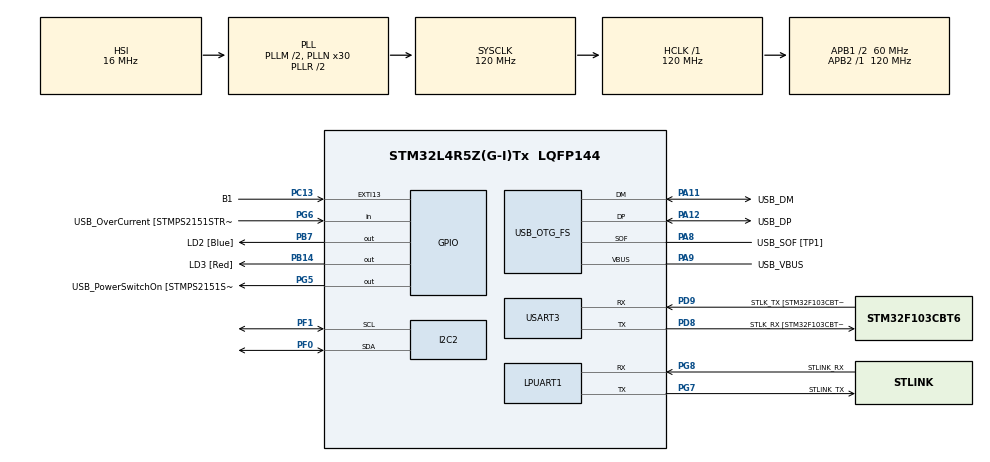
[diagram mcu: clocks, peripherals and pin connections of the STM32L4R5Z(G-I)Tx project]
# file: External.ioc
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I2C2.Timing=0x107075B0
LPUART1.WordLength=UART_WORDLENGTH_8B
Mcu.Family=STM32L4
Mcu.Name=STM32L4R5Z(G-I)Tx
Mcu.Package=LQFP144
NVIC.PriorityGroup=NVIC_PRIORITYGROUP_4
PA10.GPIO_Label=USB_ID
PA10.Signal=USB_OTG_FS_ID
PA11.GPIO_Label=USB_DM
PA11.Mode=Device_Only
PA11.Signal=USB_OTG_FS_DM
PA12.GPIO_Label=USB_DP
PA12.Mode=Device_Only
PA12.Signal=USB_OTG_FS_DP
PA13\ (JTMS/SWDIO).GPIO_Label=TMS
PA13\ (JTMS/SWDIO).Mode=Trace_Asynchronous_SW
PA13\ (JTMS/SWDIO).Signal=SYS_JTMS-SWDIO
PA14\ (JTCK/SWCLK).GPIO_Label=TCK
PA14\ (JTCK/SWCLK).Mode=Trace_Asynchronous_SW
PA14\ (JTCK/SWCLK).Signal=SYS_JTCK-SWCLK
PA2.Signal=USART2_TX
PA3.Signal=USART2_RX
PA8.GPIO_Label=USB_SOF [TP1]
PA8.Mode=Activate_SOF_FS
PA8.Signal=USB_OTG_FS_SOF
PA9.GPIO_Label=USB_VBUS
PA9.Mode=Activate_VBUS
PA9.Signal=USB_OTG_FS_VBUS
PB14.GPIO_Label=LD3 [Red]
PB14.Signal=GPIO_Output
PB3\ (JTDO/TRACESWO).GPIO_Label=SWO
PB3\ (JTDO/TRACESWO).Mode=Trace_Asynchronous_SW
PB3\ (JTDO/TRACESWO).Signal=SYS_JTDO-SWO
PB7.GPIO_Label=LD2 [Blue]
PB7.Signal=GPIO_Output
PC13.GPIO_Label=B1
PC13.Signal=GPXTI13
PC14-OSC32_IN\ (PC14).Mode=LSE-External-Oscillator
PC14-OSC32_IN\ (PC14).Signal=RCC_OSC32_IN
PC15-OSC32_OUT\ (PC15).Mode=LSE-External-Oscillator
PC15-OSC32_OUT\ (PC15).Signal=RCC_OSC32_OUT
PD8.GPIO_Label=STLK_RX [STM32F103CBT6_PA3]
PD8.Mode=Asynchronous
PD8.Signal=USART3_TX
PD9.GPIO_Label=STLK_TX [STM32F103CBT6_PA2]
PD9.Mode=Asynchronous
PD9.Signal=USART3_RX
PF0.Mode=I2C
PF0.Signal=I2C2_SDA
PF1.Mode=I2C
PF1.Signal=I2C2_SCL
PG5.GPIO_Label=USB_PowerSwitchOn [STMPS2151STR_EN]
PG5.Signal=GPIO_Output
PG6.GPIO_Label=USB_OverCurrent [STMPS2151STR_FAULT]
PG6.Signal=GPIO_Input
PG7.GPIO_Label=STLINK_TX
PG7.Mode=Asynchronous
PG7.Signal=LPUART1_TX
PG8.GPIO_Label=STLINK_RX
PG8.Mode=Asynchronous
PG8.Signal=LPUART1_RX
PH0-OSC_IN\ (PH0).Signal=RCC_OSC_IN
PH1-OSC_OUT\ (PH1).Signal=RCC_OSC_OUT
ProjectManager.HeapSize=0x200
ProjectManager.StackSize=0x400
ProjectManager.TargetToolchain=STM32CubeIDE
RCC.48MHZClocksFreq_Value=24000000
RCC.ADCFreq_Value=96000000
RCC.AHBFreq_Value=120000000
RCC.APB1CLKDivider=RCC_HCLK_DIV2
RCC.APB1Freq_Value=60000000
RCC.APB1TimFreq_Value=120000000
RCC.APB2Freq_Value=120000000
RCC.APB2TimFreq_Value=120000000
RCC.CK48CLockSelection=RCC_USBCLKSOURCE_HSI48
RCC.CortexFreq_Value=120000000
RCC.HCLKFreq_Value=120000000
RCC.HSE_VALUE=8000000
RCC.HSI48_VALUE=48000000
RCC.HSI_VALUE=16000000
RCC.MSI_VALUE=4000000
RCC.PLLM1=2
RCC.PLLMUL=RCC_PLL_MUL9
RCC.PLLN=30
RCC.PLLSAI1N=12
RCC.PLLSourceVirtual=RCC_PLLSOURCE_HSI
RCC.PRESCALERUSB=RCC_USBCLKSOURCE_PLL_DIV1_5
RCC.SYSCLKFreq_VALUE=120000000
RCC.SYSCLKSource=RCC_SYSCLKSOURCE_PLLCLK
RCC.SYSCLKSourceVirtual=RCC_SYSCLKSOURCE_PLLCLK
RCC.USBFreq_Value=48000000
RCC.VCOOutputFreq_Value=240000000
USART3.VirtualMode-Asynchronous=VM_ASYNC
USB_OTG_FS.VirtualMode=Device_Only
board=NUCLEO-L4R5ZI

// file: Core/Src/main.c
/* USER CODE BEGIN Header */
/**
 ******************************************************************************
 * @file           : main.c
 * @brief          : Main program body
 ******************************************************************************
 * @attention
 *
 * Copyright (c) 2022 STMicroelectronics.
 * All rights reserved.
 *
 * This software is licensed under terms that can be found in the LICENSE file
 * in the root directory of this software component.
 * If no LICENSE file comes with this software, it is provided AS-IS.
 *
 ******************************************************************************
 */
/* USER CODE END Header */
#include "main.h"

/* USER CODE BEGIN Includes */
#include <string.h>
#include <stdlib.h>

/* USER CODE END Includes */

I2C_HandleTypeDef hi2c2;

UART_HandleTypeDef hlpuart1;
UART_HandleTypeDef huart3;

PCD_HandleTypeDef hpcd_USB_OTG_FS;

/* USER CODE BEGIN PV */
static const uint8_t SENS_ADDR = 0x18;
static const uint8_t REG_TEMP = 0x05;
uint8_t ACK;
uint8_t NAK;
uint8_t UpperByte;
uint8_t LowerByte;

/* USER CODE END PV */

void SystemClock_Config(void);
static void MX_GPIO_Init(void);
static void MX_LPUART1_UART_Init(void);
static void MX_USART3_UART_Init(void);
static void MX_USB_OTG_FS_PCD_Init(void);
static void MX_I2C2_Init(void);

int main(void) {
	/* USER CODE BEGIN 1 */
	uint8_t buf[3];
	char str[100];
	float Temperature;
	/* USER CODE END 1 */

	/* MCU Configuration--------------------------------------------------------*/

	/* Reset of all peripherals, Initializes the Flash interface and the Systick. */
	HAL_Init();

	/* Configure the system clock */
	SystemClock_Config();

	/* Initialize all configured peripherals */
	MX_GPIO_Init();
	MX_LPUART1_UART_Init();
	MX_USART3_UART_Init();
	MX_USB_OTG_FS_PCD_Init();
	MX_I2C2_Init();

	/* Infinite loop */
	/* USER CODE BEGIN WHILE */
	while (1) {
		// new line char, for clarity
		char newLine[2] = "\n";

		/*
		 * Here, we are sending the address of the Ambiant Temperature information
		 * (Stored in REG_TEMP), to the Sensor where it will repopulate the buf
		 * with the 2 bytes which contain the information about the Ambiant Temperature
		 *
		 */
		buf[0] = REG_TEMP;
		HAL_I2C_Master_Transmit(&hi2c2, SENS_ADDR << 1, buf, 1,
		HAL_MAX_DELAY);

		// The 16 bits that represent the information for the Ta (Ambiant Temperature) are stored in
		// buf as the first two bytes (as it 16 bits long, so 2 bytes)
		HAL_I2C_Master_Receive(&hi2c2, SENS_ADDR << 1, buf, 2,
		HAL_MAX_DELAY);

		// First most significant byte
		UpperByte = buf[0];
		short upper = UpperByte; // Here for debugging purposes

		// Less significant byte
		LowerByte = buf[1];
		short lower = LowerByte; // Here for debugging purposes

		/*
		 * Note that the following section is better understood by looking the MCP9808 documentation
		 * Specifically, page 17, which outlines the purpose of each bit (of 16) for the Ambiant Temperature
		 *
		 * Also, page 24 and 25 are quite useful as well for outlining the details of the 2 bytes recieved
		 */

//		// If 0, then temp is positive, if 1, temp is negative
//		uint8_t negCheckMask = 0x10; // 0001 0000
//		uint8_t negCheck = upper & negCheckMask;
//
//		// Grabs bits 11-8,
//		uint8_t sigUpperbitsMask = 0x0F; //0000 1111
//		uint8_t sigUpperbits = UpperByte & sigUpperbitsMask;
//		// As these bits are meant to represent (2^7, 2^6, 2^5, 2^4), I must multiply value by 16
//		uint8_t upperBitsTemp = sigUpperbits << 4;
//
//		// Represents (2^3, 2^2, 2^1, 2^0)
//		uint8_t firstLowerBitsTemp = lower >> 4;
//
//		// Represents the decimal bits (2^-1, 2^-2, 2^-3, 2^-4),
//		// thus, equivalent to dividing num by 16
//		float decimalNums = ((float) (0x0F & lower)) / 16;
//
//		float temp = upperBitsTemp + firstLowerBitsTemp + decimalNums;
//
//		// if negative number, subtract by 256
//		if (negCheck == 1){
//			temp -= 256;
//		}
		/*
		 * Following block of code can be found on page 25
		 * of the MCP9808 Data Sheet
		 *
		 *
		 */

		//First Check flag bits
		if ((UpperByte & 0x80) == 0x80) { //TA ³ TCRIT
			// 1000 0000, checks the most significant bit

		}
		if ((UpperByte & 0x40) == 0x40) { //TA > TUPPER
			// Need to configure upper limit

			// 0100 0000, checks bit 7
//			char str[] = "Ambient Temperature is greater than Upper Limit.";
//			HAL_UART_Transmit(&hlpuart1, str, strlen((char*) str),
//					HAL_MAX_DELAY);
		}
		if ((UpperByte & 0x20) == 0x20) { //TA < TLOWER
			// need to configure lower limit

			//			char str[] = "Ambient Temperature is less than lower Limit.";
//			HAL_UART_Transmit(&hlpuart1, str, strlen((char*) str),
//					HAL_MAX_DELAY);

		}
		// UpperByte & 0001 1111, first 3 bits of UpperByte are flag bits
		upper = upper & 0x1F; //Clear flag bits

		if ((UpperByte & 0x10) == 0x10) { //TA < 0°C
			upper = upper & 0x0F; //Clear SIGN
			Temperature = 256 - (upper * 16 + (float) lower / 16);
		} else
			//TA >= 0°C
			Temperature = (upper * 16 + (float) lower / 16);

		// The largest number is going to have 8 characters + end of string character
		char tempBuf[9];
		gcvt(Temperature, 7, tempBuf);

		// Prints Temp to COM port
		HAL_UART_Transmit(&hlpuart1, tempBuf, strlen((char*) tempBuf),
		HAL_MAX_DELAY);
		// Print new line for clarity
		HAL_UART_Transmit(&hlpuart1, newLine, strlen((char*) newLine),
		HAL_MAX_DELAY);

		HAL_Delay(750);

		/* USER CODE END WHILE */

	}
}

void SystemClock_Config(void) {
	RCC_OscInitTypeDef RCC_OscInitStruct = { 0 };
	RCC_ClkInitTypeDef RCC_ClkInitStruct = { 0 };

	/** Configure the main internal regulator output voltage
	 */
	if (HAL_PWREx_ControlVoltageScaling(PWR_REGULATOR_VOLTAGE_SCALE1_BOOST)
			!= HAL_OK) {
		Error_Handler();
	}

	/** Initializes the RCC Oscillators according to the specified parameters
	 * in the RCC_OscInitTypeDef structure.
	 */
	RCC_OscInitStruct.OscillatorType = RCC_OSCILLATORTYPE_HSI48
			| RCC_OSCILLATORTYPE_HSI;
	RCC_OscInitStruct.HSIState = RCC_HSI_ON;
	RCC_OscInitStruct.HSI48State = RCC_HSI48_ON;
	RCC_OscInitStruct.HSICalibrationValue = RCC_HSICALIBRATION_DEFAULT;
	RCC_OscInitStruct.PLL.PLLState = RCC_PLL_ON;
	RCC_OscInitStruct.PLL.PLLSource = RCC_PLLSOURCE_HSI;
	RCC_OscInitStruct.PLL.PLLM = 2;
	RCC_OscInitStruct.PLL.PLLN = 30;
	RCC_OscInitStruct.PLL.PLLP = RCC_PLLP_DIV2;
	RCC_OscInitStruct.PLL.PLLQ = RCC_PLLQ_DIV2;
	RCC_OscInitStruct.PLL.PLLR = RCC_PLLR_DIV2;
	if (HAL_RCC_OscConfig(&RCC_OscInitStruct) != HAL_OK) {
		Error_Handler();
	}

	/** Initializes the CPU, AHB and APB buses clocks
	 */
	RCC_ClkInitStruct.ClockType = RCC_CLOCKTYPE_HCLK | RCC_CLOCKTYPE_SYSCLK
			| RCC_CLOCKTYPE_PCLK1 | RCC_CLOCKTYPE_PCLK2;
	RCC_ClkInitStruct.SYSCLKSource = RCC_SYSCLKSOURCE_PLLCLK;
	RCC_ClkInitStruct.AHBCLKDivider = RCC_SYSCLK_DIV1;
	RCC_ClkInitStruct.APB1CLKDivider = RCC_HCLK_DIV2;
	RCC_ClkInitStruct.APB2CLKDivider = RCC_HCLK_DIV1;

	if (HAL_RCC_ClockConfig(&RCC_ClkInitStruct, FLASH_LATENCY_5) != HAL_OK) {
		Error_Handler();
	}
}

static void MX_I2C2_Init(void) {

	hi2c2.Instance = I2C2;
	hi2c2.Init.Timing = 0x107075B0;
	hi2c2.Init.OwnAddress1 = 0;
	hi2c2.Init.AddressingMode = I2C_ADDRESSINGMODE_7BIT;
	hi2c2.Init.DualAddressMode = I2C_DUALADDRESS_DISABLE;
	hi2c2.Init.OwnAddress2 = 0;
	hi2c2.Init.OwnAddress2Masks = I2C_OA2_NOMASK;
	hi2c2.Init.GeneralCallMode = I2C_GENERALCALL_DISABLE;
	hi2c2.Init.NoStretchMode = I2C_NOSTRETCH_DISABLE;
	if (HAL_I2C_Init(&hi2c2) != HAL_OK) {
		Error_Handler();
	}

	/** Configure Analogue filter
	 */
	if (HAL_I2CEx_ConfigAnalogFilter(&hi2c2, I2C_ANALOGFILTER_ENABLE)
			!= HAL_OK) {
		Error_Handler();
	}

	/** Configure Digital filter
	 */
	if (HAL_I2CEx_ConfigDigitalFilter(&hi2c2, 0) != HAL_OK) {
		Error_Handler();
	}

}

static void MX_LPUART1_UART_Init(void) {

	hlpuart1.Instance = LPUART1;
	hlpuart1.Init.BaudRate = 209700;
	hlpuart1.Init.WordLength = UART_WORDLENGTH_8B;
	hlpuart1.Init.StopBits = UART_STOPBITS_1;
	hlpuart1.Init.Parity = UART_PARITY_NONE;
	hlpuart1.Init.Mode = UART_MODE_TX_RX;
	hlpuart1.Init.HwFlowCtl = UART_HWCONTROL_NONE;
	hlpuart1.Init.OneBitSampling = UART_ONE_BIT_SAMPLE_DISABLE;
	hlpuart1.Init.ClockPrescaler = UART_PRESCALER_DIV1;
	hlpuart1.AdvancedInit.AdvFeatureInit = UART_ADVFEATURE_NO_INIT;
	hlpuart1.FifoMode = UART_FIFOMODE_DISABLE;
	if (HAL_UART_Init(&hlpuart1) != HAL_OK) {
		Error_Handler();
	}
	if (HAL_UARTEx_SetTxFifoThreshold(&hlpuart1, UART_TXFIFO_THRESHOLD_1_8)
			!= HAL_OK) {
		Error_Handler();
	}
	if (HAL_UARTEx_SetRxFifoThreshold(&hlpuart1, UART_RXFIFO_THRESHOLD_1_8)
			!= HAL_OK) {
		Error_Handler();
	}
	if (HAL_UARTEx_DisableFifoMode(&hlpuart1) != HAL_OK) {
		Error_Handler();
	}

}

static void MX_USART3_UART_Init(void) {

	huart3.Instance = USART3;
	huart3.Init.BaudRate = 115200;
	huart3.Init.WordLength = UART_WORDLENGTH_8B;
	huart3.Init.StopBits = UART_STOPBITS_1;
	huart3.Init.Parity = UART_PARITY_NONE;
	huart3.Init.Mode = UART_MODE_TX_RX;
	huart3.Init.HwFlowCtl = UART_HWCONTROL_NONE;
	huart3.Init.OverSampling = UART_OVERSAMPLING_16;
	huart3.Init.OneBitSampling = UART_ONE_BIT_SAMPLE_DISABLE;
	huart3.Init.ClockPrescaler = UART_PRESCALER_DIV1;
	huart3.AdvancedInit.AdvFeatureInit = UART_ADVFEATURE_NO_INIT;
	if (HAL_UART_Init(&huart3) != HAL_OK) {
		Error_Handler();
	}
	if (HAL_UARTEx_SetTxFifoThreshold(&huart3, UART_TXFIFO_THRESHOLD_1_8)
			!= HAL_OK) {
		Error_Handler();
	}
	if (HAL_UARTEx_SetRxFifoThreshold(&huart3, UART_RXFIFO_THRESHOLD_1_8)
			!= HAL_OK) {
		Error_Handler();
	}
	if (HAL_UARTEx_DisableFifoMode(&huart3) != HAL_OK) {
		Error_Handler();
	}

}

static void MX_USB_OTG_FS_PCD_Init(void) {

	hpcd_USB_OTG_FS.Instance = USB_OTG_FS;
	hpcd_USB_OTG_FS.Init.dev_endpoints = 6;
	hpcd_USB_OTG_FS.Init.phy_itface = PCD_PHY_EMBEDDED;
	hpcd_USB_OTG_FS.Init.Sof_enable = ENABLE;
	hpcd_USB_OTG_FS.Init.low_power_enable = DISABLE;
	hpcd_USB_OTG_FS.Init.lpm_enable = DISABLE;
	hpcd_USB_OTG_FS.Init.battery_charging_enable = ENABLE;
	hpcd_USB_OTG_FS.Init.use_dedicated_ep1 = DISABLE;
	hpcd_USB_OTG_FS.Init.vbus_sensing_enable = ENABLE;
	if (HAL_PCD_Init(&hpcd_USB_OTG_FS) != HAL_OK) {
		Error_Handler();
	}

}

static void MX_GPIO_Init(void) {
	GPIO_InitTypeDef GPIO_InitStruct = { 0 };

	/* GPIO Ports Clock Enable */
	__HAL_RCC_GPIOC_CLK_ENABLE();
	__HAL_RCC_GPIOF_CLK_ENABLE();
	__HAL_RCC_GPIOH_CLK_ENABLE();
	__HAL_RCC_GPIOA_CLK_ENABLE();
	__HAL_RCC_GPIOB_CLK_ENABLE();
	__HAL_RCC_GPIOD_CLK_ENABLE();
	__HAL_RCC_GPIOG_CLK_ENABLE();
	HAL_PWREx_EnableVddIO2();

	/*Configure GPIO pin Output Level */
	HAL_GPIO_WritePin(GPIOB, LD3_Pin | LD2_Pin, GPIO_PIN_RESET);

	/*Configure GPIO pin Output Level */
	HAL_GPIO_WritePin(USB_PowerSwitchOn_GPIO_Port, USB_PowerSwitchOn_Pin,
			GPIO_PIN_RESET);

	/*Configure GPIO pin : B1_Pin */
	GPIO_InitStruct.Pin = B1_Pin;
	GPIO_InitStruct.Mode = GPIO_MODE_IT_RISING;
	GPIO_InitStruct.Pull = GPIO_NOPULL;
	HAL_GPIO_Init(B1_GPIO_Port, &GPIO_InitStruct);

	/*Configure GPIO pins : PA2 PA3 */
	GPIO_InitStruct.Pin = GPIO_PIN_2 | GPIO_PIN_3;
	GPIO_InitStruct.Mode = GPIO_MODE_AF_PP;
	GPIO_InitStruct.Pull = GPIO_NOPULL;
	GPIO_InitStruct.Speed = GPIO_SPEED_FREQ_VERY_HIGH;
	GPIO_InitStruct.Alternate = GPIO_AF7_USART2;
	HAL_GPIO_Init(GPIOA, &GPIO_InitStruct);

	/*Configure GPIO pins : LD3_Pin LD2_Pin */
	GPIO_InitStruct.Pin = LD3_Pin | LD2_Pin;
	GPIO_InitStruct.Mode = GPIO_MODE_OUTPUT_PP;
	GPIO_InitStruct.Pull = GPIO_NOPULL;
	GPIO_InitStruct.Speed = GPIO_SPEED_FREQ_LOW;
	HAL_GPIO_Init(GPIOB, &GPIO_InitStruct);

	/*Configure GPIO pin : USB_PowerSwitchOn_Pin */
	GPIO_InitStruct.Pin = USB_PowerSwitchOn_Pin;
	GPIO_InitStruct.Mode = GPIO_MODE_OUTPUT_PP;
	GPIO_InitStruct.Pull = GPIO_NOPULL;
	GPIO_InitStruct.Speed = GPIO_SPEED_FREQ_LOW;
	HAL_GPIO_Init(USB_PowerSwitchOn_GPIO_Port, &GPIO_InitStruct);

	/*Configure GPIO pin : USB_OverCurrent_Pin */
	GPIO_InitStruct.Pin = USB_OverCurrent_Pin;
	GPIO_InitStruct.Mode = GPIO_MODE_INPUT;
	GPIO_InitStruct.Pull = GPIO_NOPULL;
	HAL_GPIO_Init(USB_OverCurrent_GPIO_Port, &GPIO_InitStruct);

}

void Error_Handler(void) {
	__disable_irq();
	while (1) {
	}
}
